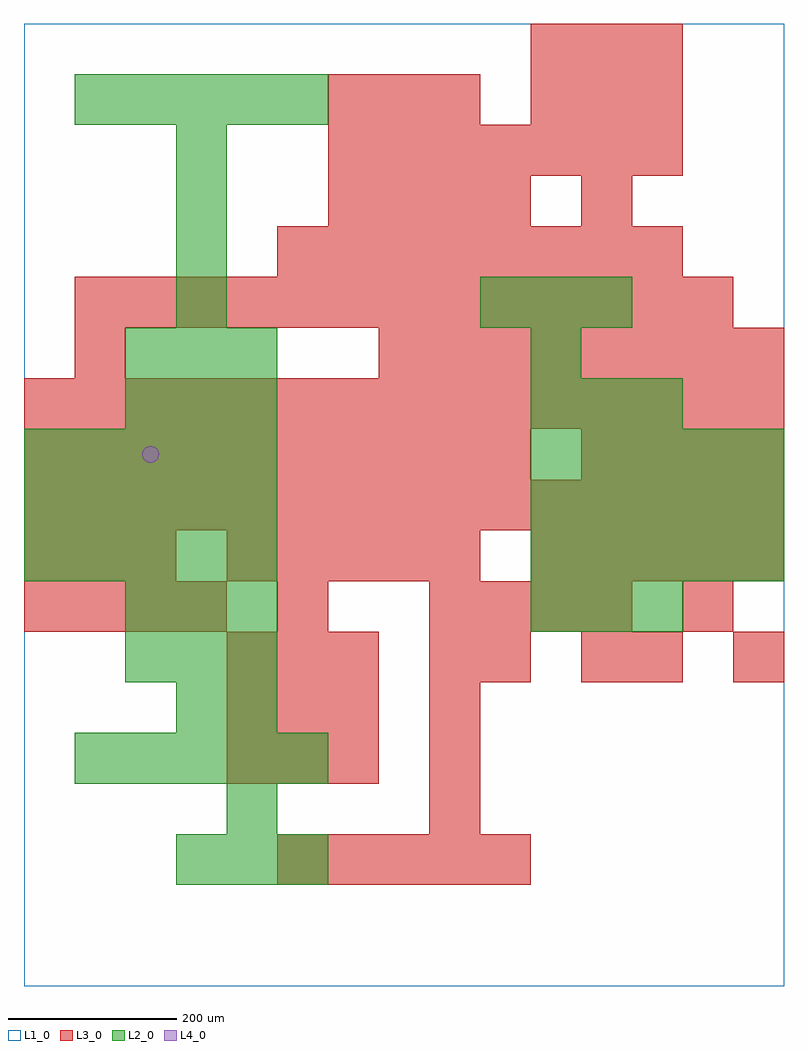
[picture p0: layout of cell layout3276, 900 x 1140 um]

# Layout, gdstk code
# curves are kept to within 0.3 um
import gdstk
lib = gdstk.Library(unit=1e-6, precision=1e-09)
def R(c, l, rs):  # rectangles x0, y0, x1, y1
    for r in rs: c.add(gdstk.rectangle(r[:2], r[2:], *l))
def A(c, l, x, y, w, h, nx, ny, dx, dy):  # array of equal rectangles
    R(c, l, [(x+i*dx, y+j*dy, x+i*dx+w, y+j*dy+h) for i in range(nx) for j in range(ny)])
def P(c, l, *ps):  # polygons
    for p in ps: c.add(gdstk.Polygon(p, *l))
L1_0 = (1, 0)
L2_0 = (2, 0)
L3_0 = (3, 0)
L4_0 = (4, 0)

layout3276 = lib.new_cell('layout3276')
R(layout3276, L1_0, [(0,0,900,1140)])
A(layout3276, L2_0, 180, 120, 60, 60, 3, 1, 60, 0)
A(layout3276, L2_0, 60, 240, 60, 60, 5, 2, 60, 780)
A(layout3276, L2_0, 120, 360, 60, 60, 3, 2, 60, 60)
A(layout3276, L2_0, 600, 420, 60, 60, 3, 2, 60, 240)
A(layout3276, L2_0, 0, 480, 60, 60, 5, 3, 60, 60)
A(layout3276, L2_0, 600, 480, 60, 60, 5, 3, 60, 60)
A(layout3276, L2_0, 120, 660, 60, 60, 3, 2, 60, 60)
A(layout3276, L2_0, 180, 780, 60, 60, 1, 4, 0, 60)
A(layout3276, L2_0, 540, 780, 60, 60, 3, 1, 60, 0)
R(layout3276, L2_0, [(240,180,300,240), (180,300,240,360), (240,300,300,360), (600,720,660,780)])
A(layout3276, L3_0, 300, 120, 60, 60, 5, 1, 60, 0)
A(layout3276, L3_0, 480, 180, 60, 60, 1, 4, 0, 60)
A(layout3276, L3_0, 240, 240, 60, 60, 3, 3, 60, 60)
A(layout3276, L3_0, 0, 420, 60, 60, 4, 1, 60, 0)
A(layout3276, L3_0, 480, 420, 60, 60, 4, 1, 60, 0)
A(layout3276, L3_0, 0, 480, 60, 60, 3, 1, 60, 0)
A(layout3276, L3_0, 240, 480, 60, 60, 5, 1, 60, 0)
A(layout3276, L3_0, 600, 480, 60, 60, 5, 1, 60, 0)
A(layout3276, L3_0, 0, 540, 60, 60, 15, 2, 60, 120)
A(layout3276, L3_0, 0, 600, 60, 60, 10, 1, 60, 0)
A(layout3276, L3_0, 660, 600, 60, 60, 4, 1, 60, 0)
A(layout3276, L3_0, 420, 720, 60, 60, 8, 1, 60, 0)
A(layout3276, L3_0, 60, 780, 60, 60, 13, 1, 60, 0)
A(layout3276, L3_0, 300, 840, 60, 60, 8, 1, 60, 0)
A(layout3276, L3_0, 360, 900, 60, 60, 4, 1, 60, 0)
A(layout3276, L3_0, 360, 960, 60, 60, 7, 1, 60, 0)
A(layout3276, L3_0, 360, 1020, 60, 60, 3, 1, 60, 0)
A(layout3276, L3_0, 600, 1020, 60, 60, 3, 2, 60, 60)
R(layout3276, L3_0, [(540,360,600,420), (660,360,720,420), (720,360,780,420), (840,360,900,420), (300,420,360,480), (780,420,840,480), (60,720,120,780), (660,900,720,960)])
P(layout3276, L4_0, [(160,630),(159.239,633.827),(157.071,637.071),(153.827,639.239),(150,640),(146.173,639.239),(142.929,637.071),(140.761,633.827),(140,630),(140.761,626.173),(142.929,622.929),(146.173,620.761),(150,620),(153.827,620.761),(157.071,622.929),(159.239,626.173)])

lib.write_gds('layout3276.gds')
